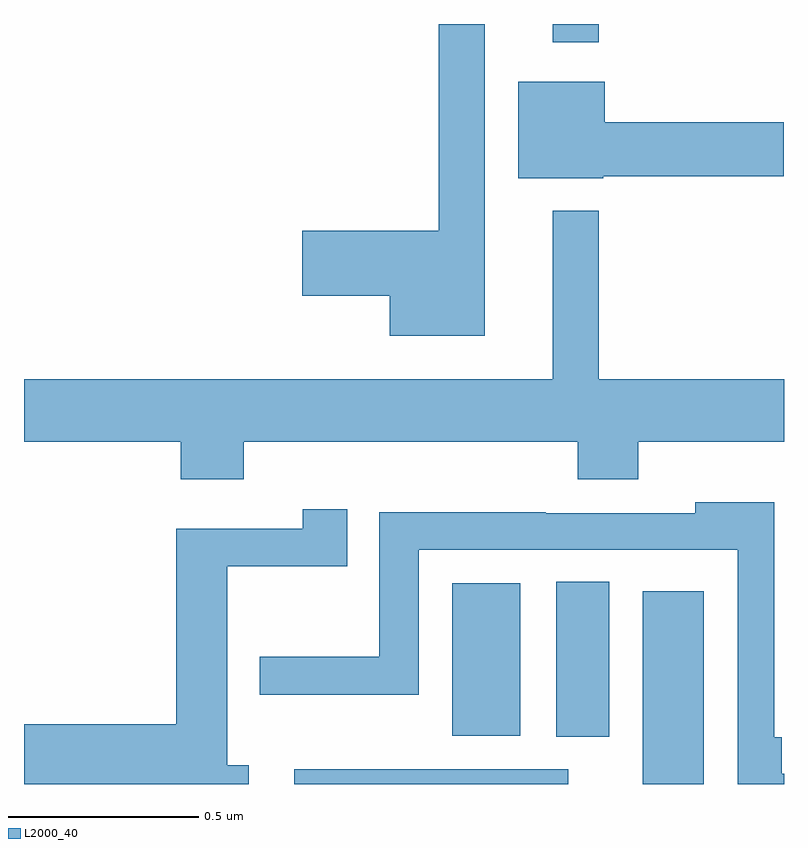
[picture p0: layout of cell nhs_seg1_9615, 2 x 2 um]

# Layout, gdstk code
import gdstk
lib = gdstk.Library(unit=1e-6, precision=1e-09)
def R(c, l, rs):  # rectangles x0, y0, x1, y1
    for r in rs: c.add(gdstk.rectangle(r[:2], r[2:], *l))
def P(c, l, *ps):  # polygons
    for p in ps: c.add(gdstk.Polygon(p, *l))
L2000_40 = (2000, 40)

nhs_seg1_9615 = lib.new_cell('nhs_seg1_9615')
R(nhs_seg1_9615, L2000_40, [(231.711,516.199,232.432,516.238), (232.628,516.199,232.789,516.706), (232.4,516.323,232.54,516.731), (232.127,516.326,232.306,516.727), (232.391,518.151,232.513,518.199)])
P(nhs_seg1_9615, L2000_40, [(232.213,518.199),(232.092,518.199),(232.092,517.655),(231.732,517.655),(231.732,517.484),(231.962,517.484),(231.962,517.379),(232.213,517.379)],
  [(232.524,517.799),(232.999,517.799),(232.999,517.941),(232.528,517.941),(232.528,518.047),(232.301,518.047),(232.301,517.793),(232.524,517.793)],
  [(231.578,517.1),(232.457,517.1),(232.457,517.001),(232.617,517.001),(232.617,517.1),(233,517.1),(233,517.264),(232.513,517.264),(232.513,517.708),(232.391,517.708),(232.391,517.264),(231,517.264),(231,517.1),(231.413,517.1),(231.413,517.001),(231.578,517.001)],
  [(233,516.226),(232.994,516.226),(232.994,516.322),(232.974,516.322),(232.974,516.94),(232.767,516.94),(232.767,516.912),(232.373,516.912),(232.373,516.914),(231.935,516.914),(231.935,516.534),(231.62,516.534),(231.62,516.434),(232.039,516.434),(232.039,516.816),(232.878,516.816),(232.878,516.199),(233,516.199)],
  [(231.592,516.248),(231.535,516.248),(231.535,516.772),(231.85,516.772),(231.85,516.922),(231.733,516.922),(231.733,516.871),(231.401,516.871),(231.401,516.356),(231,516.356),(231,516.199),(231.592,516.199)])

lib.write_gds('nhs_seg1_9615.gds')
